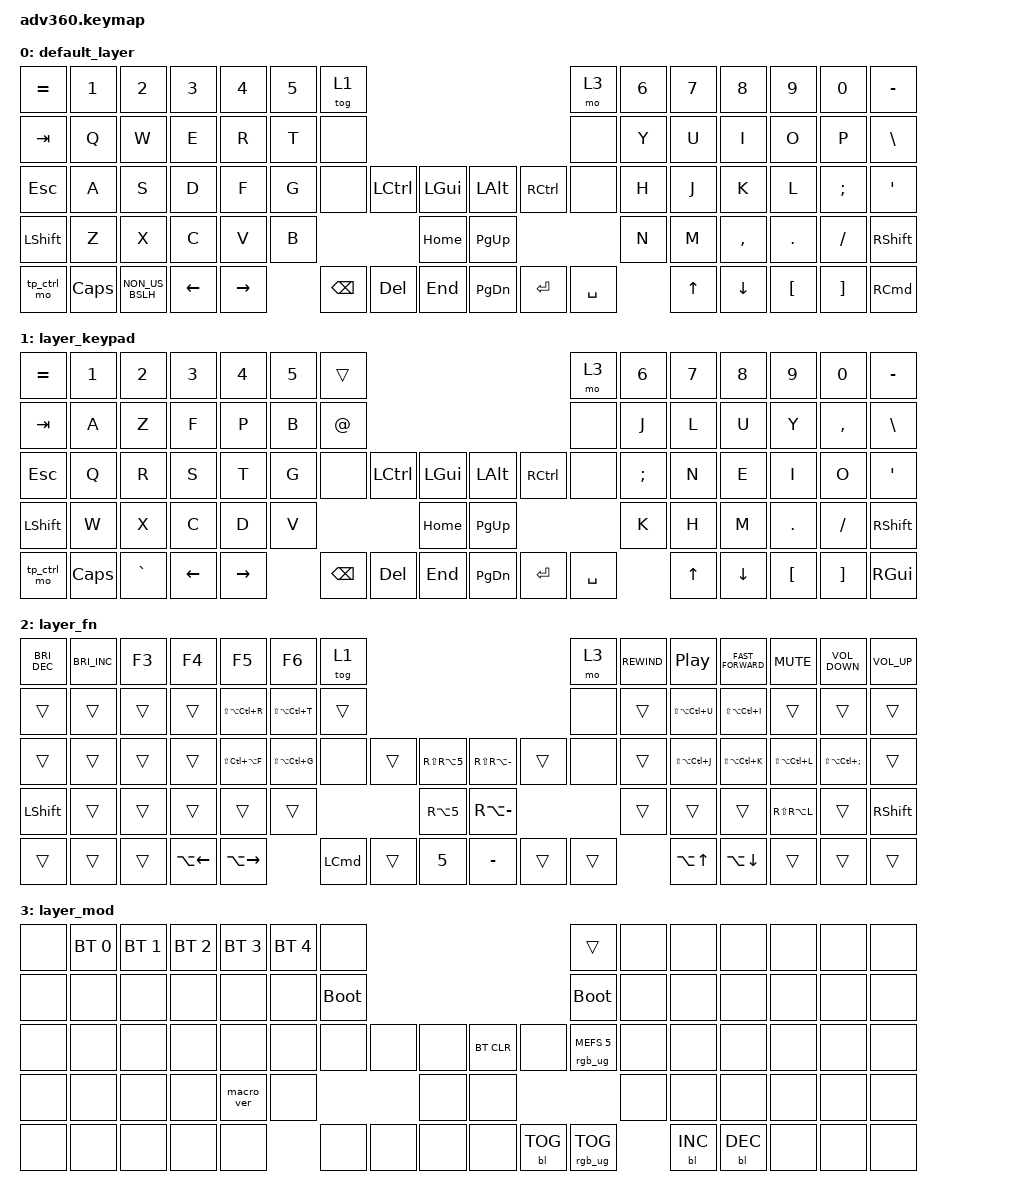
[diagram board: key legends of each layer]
/*
 * Copyright (c) 2020 The ZMK Contributors
 *
 * SPDX-License-Identifier: MIT
 */
/* THIS FILE WAS GENERATED!
 *
 * This file was generated automatically. You may or may not want to
 * edit it directly.
 */

#include <behaviors.dtsi>
#include <dt-bindings/zmk/backlight.h>
#include <dt-bindings/zmk/bt.h>
#include <dt-bindings/zmk/keys.h>
#include <dt-bindings/zmk/rgb.h>

/ {
    behaviors {
        #include "macros.dtsi"
    #include "version.dtsi"

        hm: homerow_mods {
            compatible = "zmk,behavior-hold-tap";
            label = "HOMEROW_MODS";
            #binding-cells = <2>;
            tapping-term-ms = <200>;
            quick_tap_ms = <175>;
            flavor = "tap-preferred";
            bindings = <&kp>, <&kp>;
        };

        td_mt: td_mt {
            compatible = "zmk,behavior-tap-dance";
            label = "TD_MT";
            #binding-cells = <0>;
            bindings = <&lt 2 LEFT_SHIFT>, <&kp LG(SPACE)>;

            tapping-term-ms = <120>;
        };

        ht_meh: ht_meh {
            compatible = "zmk,behavior-hold-tap";
            label = "HT_MEH";
            bindings = <&kp>, <&kp>;

            #binding-cells = <2>;
            tapping-term-ms = <200>;
        };

        tp_ctrl_mo: tp_ctrl_mo {
            compatible = "zmk,behavior-tap-dance";
            label = "TP_CTRL_MO";
            #binding-cells = <0>;
            bindings = <&kp LEFT_CONTROL>, <&mo 2>;
        };
    };

    keymap {
        compatible = "zmk,keymap";

        default_layer {
            bindings = <
&kp EQUAL    &kp N1    &kp N2           &kp N3    &kp N4     &kp N5  &tog 1                                                       &mo 3      &kp N6  &kp N7  &kp N8     &kp N9    &kp N0    &kp MINUS
&kp TAB      &kp Q     &kp W            &kp E     &kp R      &kp T   &none                                                        &none      &kp Y   &kp U   &kp I      &kp O     &kp P     &kp BSLH
&kp ESC      &kp A     &kp S            &kp D     &kp F      &kp G   &none     &kp LCTRL  &kp LEFT_GUI      &kp LALT   &kp RCTRL  &none      &kp H   &kp J   &kp K      &kp L     &kp SEMI  &kp SQT
&kp LSHFT    &kp Z     &kp X            &kp C     &kp V      &kp B                        &kp HOME          &kp PG_UP                        &kp N   &kp M   &kp COMMA  &kp DOT   &kp FSLH  &kp RSHFT
&tp_ctrl_mo  &kp CAPS  &kp NON_US_BSLH  &kp LEFT  &kp RIGHT          &kp BSPC  &kp DEL    &kp END           &kp PG_DN  &kp ENTER  &kp SPACE          &kp UP  &kp DOWN   &kp LBKT  &kp RBKT  &kp RCMD
            >;
        };

        layer_keypad {
            bindings = <
&kp EQUAL    &kp N1    &kp N2     &kp N3    &kp N4     &kp N5  &trans                                                   &mo 3      &kp N6    &kp N7  &kp N8    &kp N9            &kp N0     &kp MINUS
&kp TAB      &kp A     &kp Z      &kp F     &kp P      &kp B   &kp AT                                                   &none      &kp J     &kp L   &kp U     &kp Y             &kp COMMA  &kp BSLH
&kp ESC      &kp Q     &kp R      &kp S     &kp T      &kp G   &none     &kp LCTRL  &kp LGUI      &kp LALT   &kp RCTRL  &none      &kp SEMI  &kp N   &kp E     &kp I             &kp O      &kp SQT
&kp LSHFT    &kp W     &kp X      &kp C     &kp D      &kp V                        &kp HOME      &kp PG_UP                        &kp K     &kp H   &kp M     &kp PERIOD        &kp FSLH   &kp RSHFT
&tp_ctrl_mo  &kp CAPS  &kp GRAVE  &kp LEFT  &kp RIGHT          &kp BSPC  &kp DEL    &kp END       &kp PG_DN  &kp ENTER  &kp SPACE            &kp UP  &kp DOWN  &kp LEFT_BRACKET  &kp RBKT   &kp RGUI
            >;
        };

        layer_fn {
            bindings = <
&kp C_BRIGHTNESS_DEC  &kp C_BRIGHTNESS_INC  &kp F3  &kp F4              &kp F5               &kp F6             &tog 1                                                           &mo 3   &kp C_REWIND  &kp C_PLAY_PAUSE   &kp C_FAST_FORWARD  &kp C_MUTE         &kp C_VOLUME_DOWN     &kp C_VOLUME_UP
&trans                &trans                &trans  &trans              &kp LS(LA(LC(R)))    &kp LS(LA(LC(T)))  &trans                                                           &none   &trans        &kp LS(LA(LC(U)))  &kp LS(LA(LC(I)))   &trans             &trans                &trans
&trans                &trans                &trans  &trans              &kp LS(LC(LA(F)))    &kp LS(LA(LC(G)))  &none     &trans  &kp RS(RA(N5))      &kp RS(RA(MINUS))  &trans  &none   &trans        &kp LS(LA(LC(J)))  &kp LS(LA(LC(K)))   &kp LS(LA(LC(L)))  &kp LS(LA(LC(SEMI)))  &trans
&kp LEFT_SHIFT        &trans                &trans  &trans              &trans               &trans                               &kp RA(N5)          &kp RA(MINUS)                      &trans        &trans             &trans              &kp RS(RA(L))      &trans                &kp RIGHT_SHIFT
&trans                &trans                &trans  &kp LA(LEFT_ARROW)  &kp LA(RIGHT_ARROW)                     &kp LCMD  &trans  &kp N5              &kp MINUS          &trans  &trans                &kp LA(UP_ARROW)   &kp LA(DOWN_ARROW)  &trans             &trans                &trans
            >;
        };

        layer_mod {
            bindings = <
&none  &bt BT_SEL 0  &bt BT_SEL 1  &bt BT_SEL 2  &bt BT_SEL 3  &bt BT_SEL 4  &none                                                  &trans                  &none  &none       &none       &none  &none  &none
&none  &none         &none         &none         &none         &none         &bootloader                                            &bootloader             &none  &none       &none       &none  &none  &none
&none  &none         &none         &none         &none         &none         &none        &none  &none      &bt BT_CLR  &none       &rgb_ug RGB_MEFS_CMD 5  &none  &none       &none       &none  &none  &none
&none  &none         &none         &none         &macro_ver    &none                             &none      &none                                           &none  &none       &none       &none  &none  &none
&none  &none         &none         &none         &none                       &none        &none  &none      &none       &bl BL_TOG  &rgb_ug RGB_TOG                &bl BL_INC  &bl BL_DEC  &none  &none  &none
            >;
        };
    };
};
